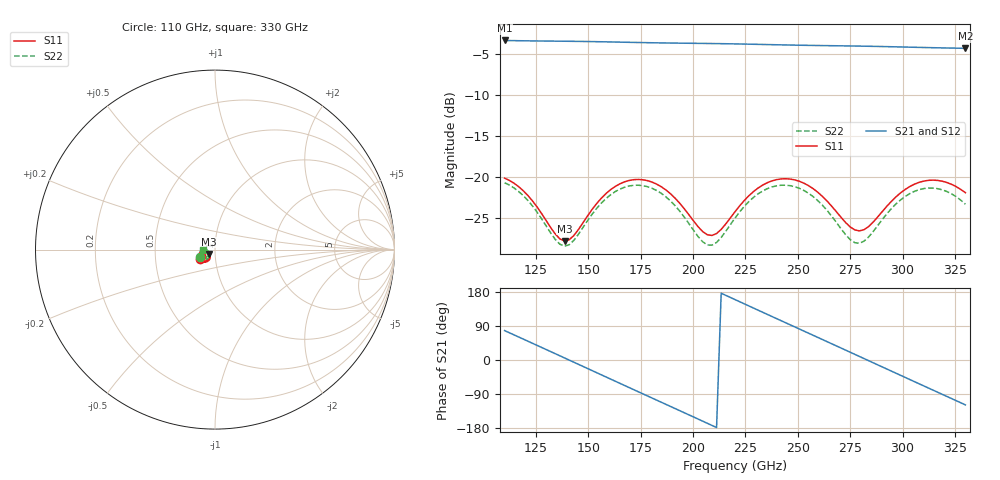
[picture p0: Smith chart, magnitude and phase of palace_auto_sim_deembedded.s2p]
! Created with skrf 1.11.0 (http://scikit-rf.org).
# GHz S DB R 50.0
!freq dBS11 angS11 dBS21 angS21 dBS12 angS12 dBS22 angS22
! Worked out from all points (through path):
!   101 points, 110 GHz to 330 GHz, reference 50 ohm
!   highest |S21| = -3.35 dB at 110 GHz (marker M1); lowest = -4.3 dB at 330 GHz (marker M2)
!   group delay of S21, straight-line fit = 7.02 ps
!   lowest |S11| = -27.8 dB at 138.6 GHz (marker M3), VSWR 1.08, Z = 46.8 - j2.28 ohm
!   |S11| at or under -10 dB: start of sweep to end of sweep
!   |S22| runs from -28.4 to -20.7 dB; largest |S21 - S12| = 1.2e-13
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110  -20.14 -147.6  -3.35 77.6  -3.35 77.6  -20.70 -153.8
125.4  -23.62 -165.5  -3.41 38.8  -3.41 38.8  -24.25 -172.5
138.6  -27.80 -143.3  -3.44 5.5  -3.44 5.5  -28.43 -150.6
147.4  -25.59 -120.8  -3.47 -16.8  -3.47 -16.8  -26.16 -129.0
156.2  -22.58 -121.1  -3.51 -39.2  -3.51 -39.2  -23.18 -130.3
167.2  -20.59 -134.2  -3.56 -67.0  -3.56 -67.0  -21.25 -144.5
176  -20.34 -147.2  -3.61 -89.3  -3.61 -89.3  -21.06 -158.3
184.8  -21.19 -159.2  -3.65 -111.5  -3.65 -111.5  -21.99 -171.1
195.8  -23.88 -166.9  -3.68 -139.2  -3.68 -139.2  -24.89 -179.4
206.8  -27.04 -150.2  -3.72 -167.1  -3.72 -167.1  -28.29 -161.1
220  -24.24 -123.5  -3.77 159.5  -3.77 159.5  -25.01 -134.3
231  -21.35 -129.0  -3.82 131.6  -3.82 131.6  -22.06 -141.9
239.8  -20.32 -139.9  -3.87 109.3  -3.87 109.3  -21.07 -154.0
248.6  -20.36 -151.7  -3.92 87.2  -3.92 87.2  -21.19 -167.0
257.4  -21.44 -161.9  -3.96 65.0  -3.96 65.0  -22.41 -178.3
268.4  -24.23 -165.6  -4.00 37.2  -4.00 37.2  -25.54 177.4
277.2  -26.45 -151.3  -4.03 14.9  -4.03 14.9  -28.01 -166.2
286  -25.49 -130.3  -4.07 -7.4  -4.07 -7.4  -26.64 -143.5
294.8  -22.94 -125.4  -4.11 -29.7  -4.11 -29.7  -23.82 -140.4
312.4  -20.41 -141.3  -4.22 -74.1  -4.22 -74.1  -21.35 -160.0
321.2  -20.67 -151.5  -4.27 -96.2  -4.27 -96.2  -21.77 -171.7
330  -21.91 -158.8  -4.31 -118.4  -4.31 -118.4  -23.31 179.7
